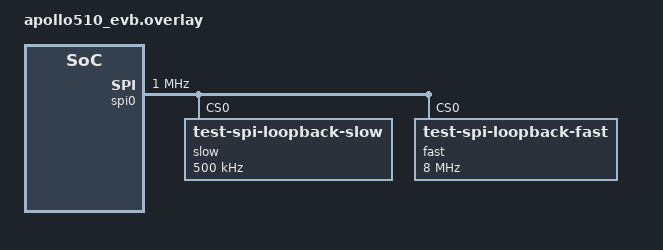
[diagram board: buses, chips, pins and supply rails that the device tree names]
/*
 * Copyright (c) 2026 Ambiq Micro Inc.
 *
 * SPDX-License-Identifier: Apache-2.0
 */

/*
 * apollo510_evb does not label the spi child of any iom, so reach it through
 * the parent. Only the nodes need to exist for the test to build; looping
 * MOSI back to MISO is a bench step for running it.
 */
&iom0 {
	spi0: spi {
		pinctrl-0 = <&spi0_default>;
		pinctrl-names = "default";
		clock-frequency = <1000000>;
		status = "okay";

		slow@0 {
			compatible = "test-spi-loopback-slow";
			reg = <0>;
			spi-max-frequency = <500000>;
		};

		fast@0 {
			compatible = "test-spi-loopback-fast";
			reg = <0>;
			spi-max-frequency = <8000000>;
		};
	};
};
